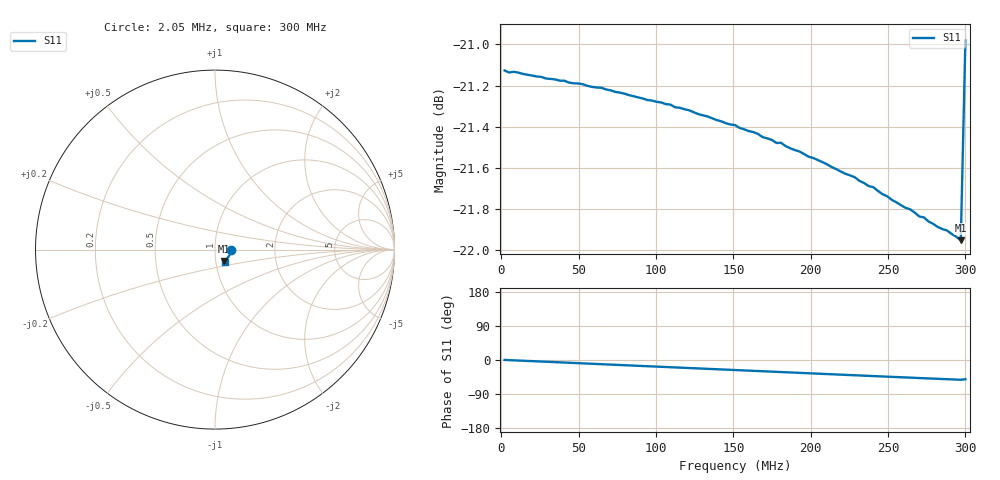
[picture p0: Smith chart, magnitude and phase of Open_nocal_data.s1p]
# Hz S RI R 50
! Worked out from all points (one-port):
!   101 points, 2.05 MHz to 300 MHz, reference 50 ohm
!   lowest |S11| = -22.0 dB at 297 MHz (marker M1), VSWR 1.17, Z = 54.7 - j6.94 ohm
!   |S11| at or under -10 dB: start of sweep to end of sweep
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2050000  0.0878 0.000242
5029500  0.0877 -0.000608
8009000  0.0878 -0.0014
2.88655e7  0.0872 -0.00696
4.07835e7  0.0867 -0.0102
7.65375e7  0.0845 -0.0198
1.15271e8  0.0808 -0.0296
1.45066e8  0.077 -0.0366
1.51025e8  0.0763 -0.038
1.540045e8  0.0758 -0.0386
1.659225e8  0.074 -0.0413
1.68902e8  0.0735 -0.0419
1.778405e8  0.0721 -0.0438
1.8082e8  0.0717 -0.0445
1.837995e8  0.0711 -0.0451
1.897585e8  0.0702 -0.0462
2.255125e8  0.0636 -0.053
2.374305e8  0.0613 -0.0549
2.4041e8  0.0607 -0.0555
2.52328e8  0.0583 -0.0572
2.612665e8  0.0565 -0.0585
2.64246e8  0.0559 -0.059
2.70205e8  0.0546 -0.0598
2.731845e8  0.054 -0.0602
2.82123e8  0.0522 -0.0613
2.88082e8  0.0509 -0.0621
2.970205e8  0.049 -0.0631
3e8  0.0565 -0.0692
